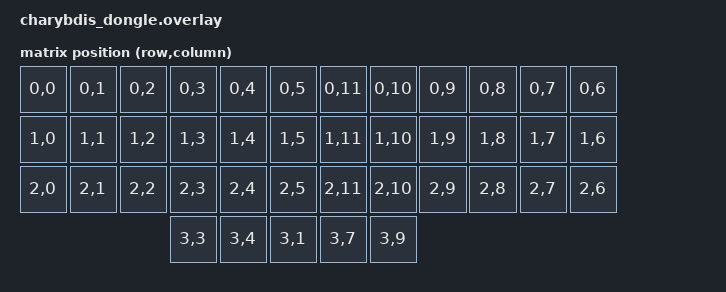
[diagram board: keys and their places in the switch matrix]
// Documentation: https://zmk.dev/docs/development/hardware-integration/dongle
#include <dt-bindings/zmk/matrix_transform.h>
#include "../../config/charybdis-layouts.dtsi"

&charybdis_physical_layout {
    transform = <&default_transform>;
};

/ {
    chosen {
        zmk,kscan           = &kscan0;
        zmk,physical-layout = &charybdis_physical_layout;
        zmk,input-device    = &trackball_split;
    };

    kscan0: kscan_1 {
        compatible = "zmk,kscan-mock";
        columns    = <0>;
        rows       = <0>;
        events     = <0>;
    };

    default_transform: keymap_transform_0 {
        compatible = "zmk,matrix-transform";
        columns = <12>;
        rows = <4>;

        map = <
	RC(0,0) RC(0,1) RC(0,2) RC(0,3) RC(0,4) RC(0,5)  RC(0,11) RC(0,10) RC(0,9) RC(0,8) RC(0,7) RC(0,6)
	RC(1,0) RC(1,1) RC(1,2) RC(1,3) RC(1,4) RC(1,5)  RC(1,11) RC(1,10) RC(1,9) RC(1,8) RC(1,7) RC(1,6)
	RC(2,0) RC(2,1) RC(2,2) RC(2,3) RC(2,4) RC(2,5)  RC(2,11) RC(2,10) RC(2,9) RC(2,8) RC(2,7) RC(2,6)
							RC(3,3) RC(3,4) RC(3,1)  RC(3,7)  RC(3,9)
        >;
    };

    central: bt_central {
        compatible = "zmk,ble-central";
        peripherals = <&left_peripheral &right_peripheral>;
    };

    left_peripheral: bt_left {
        compatible = "zmk,ble-peripheral";
        local-name = "charybdis_left";
    };

    right_peripheral: bt_right {
        compatible = "zmk,ble-peripheral";
        local-name = "charybdis_right";
    };

    /* The dongle is the central - it receives trackball data over BLE from the
       right peripheral via zmk,input-split. No SPI or PMW3610 hardware here. */
    split_inputs {
        #address-cells = <1>;
        #size-cells = <0>;

        trackball_split: trackball_split@0 {
            compatible = "zmk,input-split";
            reg = <0>;
        };
    };

    trackball_listener: trackball_listener {
        compatible = "zmk,input-listener";
        status = "disabled";
        device = <&trackball_split>;
    };
};

/* Ambient light sensor not installed on dongle - disable I2C1 to prevent
   nRF52840 TWIM from hanging on probe (no ACK -> WDT reset loop) */
&i2c1 { status = "disabled"; };

/* charybdis_pointer.dtsi references &trackball_listener - must come after node definition */
#include "../../config/trackball/charybdis_pointer.dtsi"

&trackball_split {
    status = "okay";
};

&trackball_listener {
    status = "okay";
};
